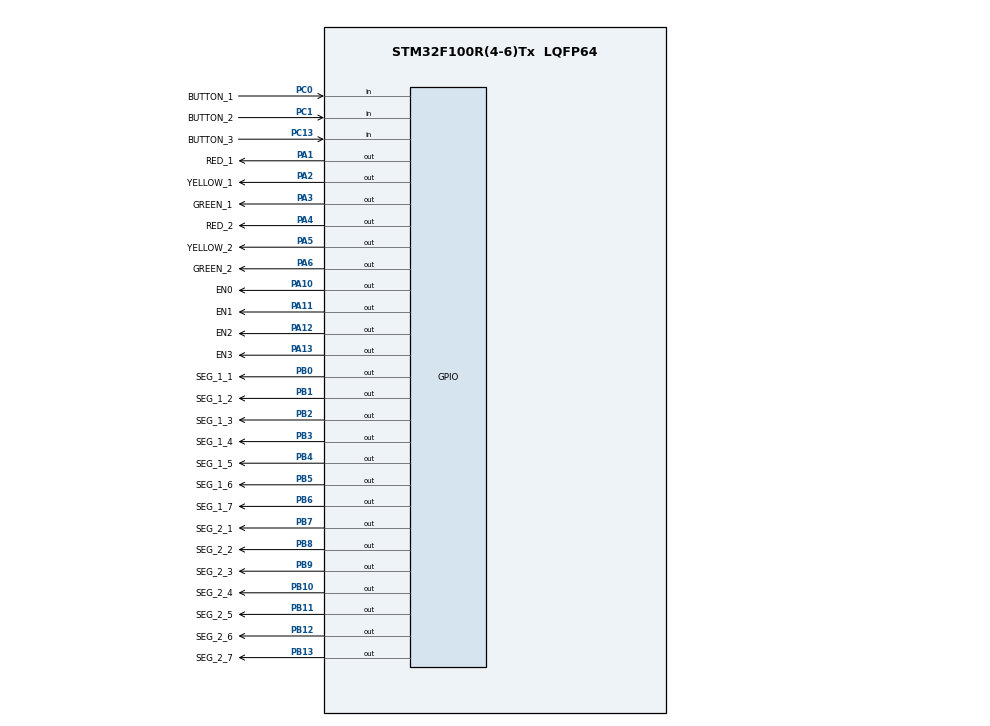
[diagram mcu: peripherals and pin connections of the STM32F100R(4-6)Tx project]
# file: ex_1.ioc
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Mcu.Family=STM32F1
Mcu.Name=STM32F100R(4-6)Tx
Mcu.Package=LQFP64
NVIC.PriorityGroup=NVIC_PRIORITYGROUP_4
NVIC.TIM2_IRQn=true\:0\:0\:false\:false\:true\:true\:true\:true
PA1.GPIO_Label=RED_1
PA1.Signal=GPIO_Output
PA10.GPIO_Label=EN0
PA10.Signal=GPIO_Output
PA11.GPIO_Label=EN1
PA11.Signal=GPIO_Output
PA12.GPIO_Label=EN2
PA12.Signal=GPIO_Output
PA13.GPIO_Label=EN3
PA13.Signal=GPIO_Output
PA2.GPIO_Label=YELLOW_1
PA2.Signal=GPIO_Output
PA3.GPIO_Label=GREEN_1
PA3.Signal=GPIO_Output
PA4.GPIO_Label=RED_2
PA4.Signal=GPIO_Output
PA5.GPIO_Label=YELLOW_2
PA5.Signal=GPIO_Output
PA6.GPIO_Label=GREEN_2
PA6.Signal=GPIO_Output
PB0.GPIO_Label=SEG_1_1
PB0.Signal=GPIO_Output
PB1.GPIO_Label=SEG_1_2
PB1.Signal=GPIO_Output
PB10.GPIO_Label=SEG_2_4
PB10.Signal=GPIO_Output
PB11.GPIO_Label=SEG_2_5
PB11.Signal=GPIO_Output
PB12.GPIO_Label=SEG_2_6
PB12.Signal=GPIO_Output
PB13.GPIO_Label=SEG_2_7
PB13.Signal=GPIO_Output
PB2.GPIO_Label=SEG_1_3
PB2.Signal=GPIO_Output
PB3.GPIO_Label=SEG_1_4
PB3.Signal=GPIO_Output
PB4.GPIO_Label=SEG_1_5
PB4.Signal=GPIO_Output
PB5.GPIO_Label=SEG_1_6
PB5.Signal=GPIO_Output
PB6.GPIO_Label=SEG_1_7
PB6.Signal=GPIO_Output
PB7.GPIO_Label=SEG_2_1
PB7.Signal=GPIO_Output
PB8.GPIO_Label=SEG_2_2
PB8.Signal=GPIO_Output
PB9.GPIO_Label=SEG_2_3
PB9.Signal=GPIO_Output
PC0.GPIO_Label=BUTTON_1
PC0.GPIO_PuPd=GPIO_PULLUP
PC0.Signal=GPIO_Input
PC1.GPIO_Label=BUTTON_2
PC1.GPIO_PuPd=GPIO_PULLUP
PC1.Signal=GPIO_Input
PC13-TAMPER-RTC.GPIO_Label=BUTTON_3
PC13-TAMPER-RTC.GPIO_PuPd=GPIO_PULLUP
PC13-TAMPER-RTC.Signal=GPIO_Input
ProjectManager.HeapSize=0x200
ProjectManager.StackSize=0x400
ProjectManager.TargetToolchain=STM32CubeIDE
RCC.APB1Freq_Value=8000000
RCC.APB2Freq_Value=8000000
TIM2.Period=9
TIM2.Prescaler=7999
VP_SYS_VS_ND.Mode=No_Debug
VP_TIM2_VS_ClockSourceINT.Mode=Internal
board=custom

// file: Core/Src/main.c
/* USER CODE BEGIN Header */
#include "Button_software.h"
#include "Software_timer.h"
#include "Light_controller.h"

/**
  ******************************************************************************
  * @file           : main.c
  * @brief          : Main program body
  ******************************************************************************
  * @attention
  *
  * Copyright (c) 2022 STMicroelectronics.
  * All rights reserved.
  *
  * This software is licensed under terms that can be found in the LICENSE file
  * in the root directory of this software component.
  * If no LICENSE file comes with this software, it is provided AS-IS.
  *
  ******************************************************************************
  */
/* USER CODE END Header */
#include "main.h"

 TIM_HandleTypeDef htim2;

/* USER CODE BEGIN PV */
#define  RED_TIME_RESET		12;
#define  GREEN_TIME_RESET	9;
#define  YELLOW_TIME_RESET	3;

const int red_time_reset = RED_TIME_RESET;
const int green_time_reset = GREEN_TIME_RESET;
const int yellow_time_reset = YELLOW_TIME_RESET;

int RED_TIME  =	RED_TIME_RESET;
int GREEN_TIME = GREEN_TIME_RESET;
int YELLOW_TIME = YELLOW_TIME_RESET;

#define timer_prop  1000

#define LIGHT_BLINK_TIME 2

const int oneSec = timer_prop*1;
const int ledRefreshTime = timer_prop*0.5;

//int red_time = RED_TIME*timer_prop;
//int green_time = GREEN_TIME*timer_prop;
//int yellow_time = YELLOW_TIME*timer_prop;

int light_blink_time = LIGHT_BLINK_TIME*timer_prop;

int countdown_0 = RED_TIME_RESET;
int countdown_1 = GREEN_TIME_RESET;

int seg1Buffer[2] = {0,0};
int seg2Buffer[2] = {0,0};
/* USER CODE END PV */

void SystemClock_Config(void);
static void MX_GPIO_Init(void);
static void MX_TIM2_Init(void);

/* USER CODE BEGIN 0 */
STATE status = INIT_1;
MODE mode = MODE_1;

void HAL_TIM_PeriodElapsedCallback(TIM_HandleTypeDef *htim){
	button_reading();
	for (int i = 0 ; i < TIMER_LIMIT; i++){
		timerRun(i);
	}
}

void mode1To2(){
	if (is_button_pressed(0) == 1){
		mode = MODE_2;
		status = RED_MAN;
		setTimer(light_blink_time, 2);
		countdown_0 = RED_TIME;
		countdown_1 = 2;
		turnOffAll();
	}
}

void mode2Run(){
	if (is_button_pressed(1) == 1){
		RED_TIME = (RED_TIME < 99) ? RED_TIME+1 : RED_TIME;
		GREEN_TIME = RED_TIME - YELLOW_TIME;
	}
	else if (is_button_pressed(2) == 1){
		RED_TIME = red_time_reset;
		GREEN_TIME = RED_TIME - YELLOW_TIME;
	}

	countdown_0 = RED_TIME;
	countdown_1 = 2;
}

void mode2To3(){
	if (is_button_pressed(0) == 1){
		mode = MODE_3;
		status = YELLOW_MAN;
		setTimer(light_blink_time, 2);
		countdown_0 = YELLOW_TIME;
		countdown_1 = YELLOW_TIME;
		turnOffAll();
	}
}

void mode3Run(){
	if (is_button_pressed(1) == 1){
		YELLOW_TIME = (YELLOW_TIME < 99) ? YELLOW_TIME+1 : YELLOW_TIME;
		GREEN_TIME = RED_TIME - YELLOW_TIME;
	}
	else if (is_button_pressed(2) == 1){
		YELLOW_TIME = yellow_time_reset;
		GREEN_TIME = RED_TIME - YELLOW_TIME;
	}

	countdown_0 = YELLOW_TIME;
	countdown_1 = 3;
}

void mode3To4(){
	if (is_button_pressed(0) == 1){
		mode = MODE_4;
		status = GREEN_MAN;
		setTimer(light_blink_time, 2);
		countdown_0 = GREEN_TIME;
		countdown_1 = GREEN_TIME;
		turnOffAll();
	}
}

void mode4Run(){
	if (is_button_pressed(1) == 1){
		GREEN_TIME = (GREEN_TIME < 99) ? GREEN_TIME+1 : GREEN_TIME;
		RED_TIME = GREEN_TIME + YELLOW_TIME;
	}
	else if (is_button_pressed(2) == 1){
		GREEN_TIME = green_time_reset;
		RED_TIME = GREEN_TIME + YELLOW_TIME;
	}

	countdown_0 = GREEN_TIME;
	countdown_1 = 4;
}

void mode4To1(){
	if (is_button_pressed(0) == 1){
		mode = MODE_1;
		status = INIT_1;
		turnOffAll();
	}
}

void updateSegLed(){
	seg1Buffer[0] = (countdown_0/10);
	seg1Buffer[1] = countdown_0 % 10;

	seg2Buffer[0] = (countdown_1/10);
	seg2Buffer[1] = countdown_1 % 10;

	if (timer_flag[0] == 1){
	  update7SEG(seg1Buffer, seg2Buffer);
	  setTimer(ledRefreshTime, 0);
	}
}

/* USER CODE END 0 */

int main(void)
{

  /* MCU Configuration--------------------------------------------------------*/

  /* Reset of all peripherals, Initializes the Flash interface and the Systick. */
  HAL_Init();

  /* Configure the system clock */
  SystemClock_Config();

  /* Initialize all configured peripherals */
  MX_GPIO_Init();
  MX_TIM2_Init();
  /* USER CODE BEGIN 2 */

  setTimer(oneSec, 1);
  setTimer(ledRefreshTime, 0);

  int isYellow = 0;

  HAL_TIM_Base_Start_IT(&htim2);
  /* USER CODE END 2 */

  /* Infinite loop */
  /* USER CODE BEGIN WHILE */
  while (1)
  {
	  /*
	   * -------------- FSM ----------------
	   */
	  switch(status){
		  case (INIT_1):
			status = RED_AUTO;
			countdown_0 = RED_TIME;
			countdown_1 = GREEN_TIME;
			isYellow = 0;
			break;

		  case (RED_AUTO):
			turnOnRed(0);
			if (countdown_1 <= 0 && isYellow == 0){
				isYellow = 1;
				countdown_1 = YELLOW_TIME;
				turnOnYellow(1);
			}
			else if (isYellow == 0){
				turnOnGreen(1);
			}

			if (countdown_0 <= 0){
				status = GREEN_AUTO;
				countdown_0 = GREEN_TIME;
				countdown_1 = RED_TIME;
			}
			mode1To2();
			break;

		  case (GREEN_AUTO):
			turnOnGreen(0);
		  	turnOnRed(1);
			if (countdown_0 <= 0){
				status = YELLOW_AUTO;
				countdown_0 = YELLOW_TIME;
			}
			mode1To2();
			break;

		  case (YELLOW_AUTO):
			turnOnYellow(0);
			turnOnRed(1);
			if (countdown_0 <= 0){
				status = RED_AUTO;
				countdown_0 = RED_TIME;
				countdown_1 = GREEN_TIME;
				isYellow = 0;
			}
			mode1To2();
			break;

		  case(RED_MAN):
			if (timer_flag[2] == 1){
				setTimer(light_blink_time, 2);
				toggleRed(0);
				toggleRed(1);
			}
		  	mode2Run();
		  	mode2To3();
			break;

		  case(YELLOW_MAN):
			if (timer_flag[2] == 1){
				setTimer(light_blink_time, 2);
				toggleYellow(0);
				toggleYellow(1);
			}
			mode3Run();
			mode3To4();
			break;

		  case(GREEN_MAN):
			if (timer_flag[2] == 1){
				setTimer(light_blink_time, 2);
				toggleGreen(0);
				toggleGreen(1);
			}
			mode4Run();
			mode4To1();
			break;

		  default:
			  status = INIT_1;
			  break;
	  }

	  /*
	   * -------------- TIMER THING ----------------
	   */
	  if (mode == MODE_1){
		  if (timer_flag[1] == 1){
			  setTimer(oneSec,1);
			  countdown_0--;
			  countdown_1--;
		  }
	  }
	  else{

	  }

	  updateSegLed();

    /* USER CODE END WHILE */

  }
}

void SystemClock_Config(void)
{
  RCC_OscInitTypeDef RCC_OscInitStruct = {0};
  RCC_ClkInitTypeDef RCC_ClkInitStruct = {0};

  /** Initializes the RCC Oscillators according to the specified parameters
  * in the RCC_OscInitTypeDef structure.
  */
  RCC_OscInitStruct.OscillatorType = RCC_OSCILLATORTYPE_HSI;
  RCC_OscInitStruct.HSIState = RCC_HSI_ON;
  RCC_OscInitStruct.HSICalibrationValue = RCC_HSICALIBRATION_DEFAULT;
  RCC_OscInitStruct.PLL.PLLState = RCC_PLL_NONE;
  if (HAL_RCC_OscConfig(&RCC_OscInitStruct) != HAL_OK)
  {
    Error_Handler();
  }

  /** Initializes the CPU, AHB and APB buses clocks
  */
  RCC_ClkInitStruct.ClockType = RCC_CLOCKTYPE_HCLK|RCC_CLOCKTYPE_SYSCLK
                              |RCC_CLOCKTYPE_PCLK1|RCC_CLOCKTYPE_PCLK2;
  RCC_ClkInitStruct.SYSCLKSource = RCC_SYSCLKSOURCE_HSI;
  RCC_ClkInitStruct.AHBCLKDivider = RCC_SYSCLK_DIV1;
  RCC_ClkInitStruct.APB1CLKDivider = RCC_HCLK_DIV1;
  RCC_ClkInitStruct.APB2CLKDivider = RCC_HCLK_DIV1;

  if (HAL_RCC_ClockConfig(&RCC_ClkInitStruct, FLASH_LATENCY_0) != HAL_OK)
  {
    Error_Handler();
  }
}

static void MX_TIM2_Init(void)
{

  TIM_ClockConfigTypeDef sClockSourceConfig = {0};
  TIM_MasterConfigTypeDef sMasterConfig = {0};

  htim2.Instance = TIM2;
  htim2.Init.Prescaler = 7999;
  htim2.Init.CounterMode = TIM_COUNTERMODE_UP;
  htim2.Init.Period = 9;
  htim2.Init.ClockDivision = TIM_CLOCKDIVISION_DIV1;
  htim2.Init.AutoReloadPreload = TIM_AUTORELOAD_PRELOAD_DISABLE;
  if (HAL_TIM_Base_Init(&htim2) != HAL_OK)
  {
    Error_Handler();
  }
  sClockSourceConfig.ClockSource = TIM_CLOCKSOURCE_INTERNAL;
  if (HAL_TIM_ConfigClockSource(&htim2, &sClockSourceConfig) != HAL_OK)
  {
    Error_Handler();
  }
  sMasterConfig.MasterOutputTrigger = TIM_TRGO_RESET;
  sMasterConfig.MasterSlaveMode = TIM_MASTERSLAVEMODE_DISABLE;
  if (HAL_TIMEx_MasterConfigSynchronization(&htim2, &sMasterConfig) != HAL_OK)
  {
    Error_Handler();
  }

}

static void MX_GPIO_Init(void)
{
  GPIO_InitTypeDef GPIO_InitStruct = {0};

  /* GPIO Ports Clock Enable */
  __HAL_RCC_GPIOC_CLK_ENABLE();
  __HAL_RCC_GPIOA_CLK_ENABLE();
  __HAL_RCC_GPIOB_CLK_ENABLE();

  /*Configure GPIO pin Output Level */
  HAL_GPIO_WritePin(GPIOA, RED_1_Pin|YELLOW_1_Pin|GREEN_1_Pin|RED_2_Pin
                          |YELLOW_2_Pin|GREEN_2_Pin|EN0_Pin|EN1_Pin
                          |EN2_Pin|EN3_Pin, GPIO_PIN_RESET);

  /*Configure GPIO pin Output Level */
  HAL_GPIO_WritePin(GPIOB, SEG_1_1_Pin|SEG_1_2_Pin|SEG_1_3_Pin|SEG_2_4_Pin
                          |SEG_2_5_Pin|SEG_2_6_Pin|SEG_2_7_Pin|SEG_1_4_Pin
                          |SEG_1_5_Pin|SEG_1_6_Pin|SEG_1_7_Pin|SEG_2_1_Pin
                          |SEG_2_2_Pin|SEG_2_3_Pin, GPIO_PIN_RESET);

  /*Configure GPIO pins : BUTTON_3_Pin BUTTON_1_Pin BUTTON_2_Pin */
  GPIO_InitStruct.Pin = BUTTON_3_Pin|BUTTON_1_Pin|BUTTON_2_Pin;
  GPIO_InitStruct.Mode = GPIO_MODE_INPUT;
  GPIO_InitStruct.Pull = GPIO_PULLUP;
  HAL_GPIO_Init(GPIOC, &GPIO_InitStruct);

  /*Configure GPIO pins : RED_1_Pin YELLOW_1_Pin GREEN_1_Pin RED_2_Pin
                           YELLOW_2_Pin GREEN_2_Pin EN0_Pin EN1_Pin
                           EN2_Pin EN3_Pin */
  GPIO_InitStruct.Pin = RED_1_Pin|YELLOW_1_Pin|GREEN_1_Pin|RED_2_Pin
                          |YELLOW_2_Pin|GREEN_2_Pin|EN0_Pin|EN1_Pin
                          |EN2_Pin|EN3_Pin;
  GPIO_InitStruct.Mode = GPIO_MODE_OUTPUT_PP;
  GPIO_InitStruct.Pull = GPIO_NOPULL;
  GPIO_InitStruct.Speed = GPIO_SPEED_FREQ_LOW;
  HAL_GPIO_Init(GPIOA, &GPIO_InitStruct);

  /*Configure GPIO pins : SEG_1_1_Pin SEG_1_2_Pin SEG_1_3_Pin SEG_2_4_Pin
                           SEG_2_5_Pin SEG_2_6_Pin SEG_2_7_Pin SEG_1_4_Pin
                           SEG_1_5_Pin SEG_1_6_Pin SEG_1_7_Pin SEG_2_1_Pin
                           SEG_2_2_Pin SEG_2_3_Pin */
  GPIO_InitStruct.Pin = SEG_1_1_Pin|SEG_1_2_Pin|SEG_1_3_Pin|SEG_2_4_Pin
                          |SEG_2_5_Pin|SEG_2_6_Pin|SEG_2_7_Pin|SEG_1_4_Pin
                          |SEG_1_5_Pin|SEG_1_6_Pin|SEG_1_7_Pin|SEG_2_1_Pin
                          |SEG_2_2_Pin|SEG_2_3_Pin;
  GPIO_InitStruct.Mode = GPIO_MODE_OUTPUT_PP;
  GPIO_InitStruct.Pull = GPIO_NOPULL;
  GPIO_InitStruct.Speed = GPIO_SPEED_FREQ_LOW;
  HAL_GPIO_Init(GPIOB, &GPIO_InitStruct);

}

void Error_Handler(void)
{
  __disable_irq();
  while (1)
  {
  }
}
